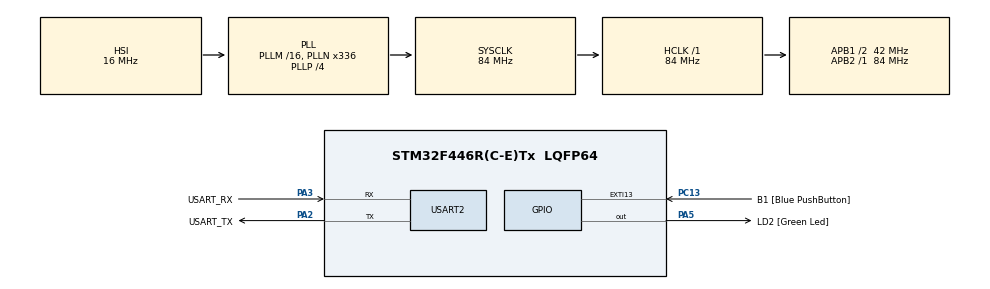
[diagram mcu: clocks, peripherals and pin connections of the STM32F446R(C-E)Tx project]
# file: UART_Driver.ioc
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Mcu.Family=STM32F4
Mcu.Name=STM32F446R(C-E)Tx
Mcu.Package=LQFP64
NVIC.PriorityGroup=NVIC_PRIORITYGROUP_0
PA13.GPIO_Label=TMS
PA13.Mode=Serial_Wire
PA13.Signal=SYS_JTMS-SWDIO
PA14.GPIO_Label=TCK
PA14.Mode=Serial_Wire
PA14.Signal=SYS_JTCK-SWCLK
PA2.GPIO_Label=USART_TX
PA2.Mode=Asynchronous
PA2.Signal=USART2_TX
PA3.GPIO_Label=USART_RX
PA3.Mode=Asynchronous
PA3.Signal=USART2_RX
PA5.GPIO_Label=LD2 [Green Led]
PA5.Signal=GPIO_Output
PB3.GPIO_Label=SWO
PB3.Signal=SYS_JTDO-SWO
PC13.GPIO_Label=B1 [Blue PushButton]
PC13.GPIO_ModeDefaultEXTI=GPIO_MODE_IT_FALLING
PC13.Signal=GPXTI13
PC14-OSC32_IN.Mode=LSE-External-Oscillator
PC14-OSC32_IN.Signal=RCC_OSC32_IN
PC15-OSC32_OUT.Mode=LSE-External-Oscillator
PC15-OSC32_OUT.Signal=RCC_OSC32_OUT
PH0-OSC_IN.Mode=HSE-External-Oscillator
PH0-OSC_IN.Signal=RCC_OSC_IN
PH1-OSC_OUT.Mode=HSE-External-Oscillator
PH1-OSC_OUT.Signal=RCC_OSC_OUT
ProjectManager.HeapSize=0x200
ProjectManager.StackSize=0x400
ProjectManager.TargetToolchain=STM32CubeIDE
RCC.48MHZClocksFreq_Value=84000000
RCC.AHBFreq_Value=84000000
RCC.APB1CLKDivider=RCC_HCLK_DIV2
RCC.APB1Freq_Value=42000000
RCC.APB1TimFreq_Value=84000000
RCC.APB2Freq_Value=84000000
RCC.APB2TimFreq_Value=84000000
RCC.CortexFreq_Value=84000000
RCC.FLatency-AdvancedSettings=FLASH_LATENCY_2
RCC.HCLKFreq_Value=84000000
RCC.HSE_VALUE=8000000
RCC.HSI_VALUE=16000000
RCC.PLLN=336
RCC.PLLP=RCC_PLLP_DIV4
RCC.SYSCLKFreq_VALUE=84000000
RCC.SYSCLKSource=RCC_SYSCLKSOURCE_PLLCLK
RCC.USBFreq_Value=168000000
RCC.VCOOutputFreq_Value=336000000
USART2.VirtualMode=VM_ASYNC
board=NUCLEO-F446RE

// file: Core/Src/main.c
/* USER CODE BEGIN Header */
/**
  ******************************************************************************
  * @file           : main.c
  * @brief          : Main program body
  ******************************************************************************
  * @attention
  *
  * Copyright (c) 2026 STMicroelectronics.
  * All rights reserved.
  *
  * This software is licensed under terms that can be found in the LICENSE file
  * in the root directory of this software component.
  * If no LICENSE file comes with this software, it is provided AS-IS.
  *
  ******************************************************************************
  */
/* USER CODE END Header */
#include "main.h"

/* USER CODE BEGIN Includes */
#include "..\..\UART\uart.h"
/* USER CODE END Includes */

UART_HandleTypeDef huart2;

void SystemClock_Config(void);
static void MX_GPIO_Init(void);
static void MX_USART2_UART_Init(void);
/* USER CODE BEGIN PFP */

/*** UARTドライバの実例用 ***/
void uart_example(void);
void uart_example_tx_cb(void * ctx);
void uart_example_rx_cb(void * ctx, unsigned char data);

/* USER CODE END PFP */

int main(void)
{

  /* MCU Configuration--------------------------------------------------------*/

  /* Reset of all peripherals, Initializes the Flash interface and the Systick. */
  HAL_Init();

  /* Configure the system clock */
  SystemClock_Config();

  /* Initialize all configured peripherals */
  MX_GPIO_Init();
  MX_USART2_UART_Init();

  /* Infinite loop */
  /* USER CODE BEGIN WHILE */
  while (1)
  {
    /* UARTドライバーの使用例 */
    uart_example();
    /* USER CODE END WHILE */

  }
}

void SystemClock_Config(void)
{
  RCC_OscInitTypeDef RCC_OscInitStruct = {0};
  RCC_ClkInitTypeDef RCC_ClkInitStruct = {0};

  /** Configure the main internal regulator output voltage
  */
  __HAL_RCC_PWR_CLK_ENABLE();
  __HAL_PWR_VOLTAGESCALING_CONFIG(PWR_REGULATOR_VOLTAGE_SCALE3);

  /** Initializes the RCC Oscillators according to the specified parameters
  * in the RCC_OscInitTypeDef structure.
  */
  RCC_OscInitStruct.OscillatorType = RCC_OSCILLATORTYPE_HSI;
  RCC_OscInitStruct.HSIState = RCC_HSI_ON;
  RCC_OscInitStruct.HSICalibrationValue = RCC_HSICALIBRATION_DEFAULT;
  RCC_OscInitStruct.PLL.PLLState = RCC_PLL_ON;
  RCC_OscInitStruct.PLL.PLLSource = RCC_PLLSOURCE_HSI;
  RCC_OscInitStruct.PLL.PLLM = 16;
  RCC_OscInitStruct.PLL.PLLN = 336;
  RCC_OscInitStruct.PLL.PLLP = RCC_PLLP_DIV4;
  RCC_OscInitStruct.PLL.PLLQ = 2;
  RCC_OscInitStruct.PLL.PLLR = 2;
  if (HAL_RCC_OscConfig(&RCC_OscInitStruct) != HAL_OK)
  {
    Error_Handler();
  }

  /** Initializes the CPU, AHB and APB buses clocks
  */
  RCC_ClkInitStruct.ClockType = RCC_CLOCKTYPE_HCLK|RCC_CLOCKTYPE_SYSCLK
                              |RCC_CLOCKTYPE_PCLK1|RCC_CLOCKTYPE_PCLK2;
  RCC_ClkInitStruct.SYSCLKSource = RCC_SYSCLKSOURCE_PLLCLK;
  RCC_ClkInitStruct.AHBCLKDivider = RCC_SYSCLK_DIV1;
  RCC_ClkInitStruct.APB1CLKDivider = RCC_HCLK_DIV2;
  RCC_ClkInitStruct.APB2CLKDivider = RCC_HCLK_DIV1;

  if (HAL_RCC_ClockConfig(&RCC_ClkInitStruct, FLASH_LATENCY_2) != HAL_OK)
  {
    Error_Handler();
  }
}

static void MX_USART2_UART_Init(void)
{

  /* USER CODE BEGIN USART2_Init 0 */
#if 0
  /* USER CODE END USART2_Init 0 */

  huart2.Instance = USART2;
  huart2.Init.BaudRate = 115200;
  huart2.Init.WordLength = UART_WORDLENGTH_8B;
  huart2.Init.StopBits = UART_STOPBITS_1;
  huart2.Init.Parity = UART_PARITY_NONE;
  huart2.Init.Mode = UART_MODE_TX_RX;
  huart2.Init.HwFlowCtl = UART_HWCONTROL_NONE;
  huart2.Init.OverSampling = UART_OVERSAMPLING_16;
  if (HAL_UART_Init(&huart2) != HAL_OK)
  {
    Error_Handler();
  }
  /* USER CODE BEGIN USART2_Init 2 */
#endif
  /* USER CODE END USART2_Init 2 */

}

static void MX_GPIO_Init(void)
{
  GPIO_InitTypeDef GPIO_InitStruct = {0};

  /* GPIO Ports Clock Enable */
  __HAL_RCC_GPIOC_CLK_ENABLE();
  __HAL_RCC_GPIOH_CLK_ENABLE();
  __HAL_RCC_GPIOA_CLK_ENABLE();
  __HAL_RCC_GPIOB_CLK_ENABLE();

  /*Configure GPIO pin Output Level */
  HAL_GPIO_WritePin(LD2_GPIO_Port, LD2_Pin, GPIO_PIN_RESET);

  /*Configure GPIO pin : B1_Pin */
  GPIO_InitStruct.Pin = B1_Pin;
  GPIO_InitStruct.Mode = GPIO_MODE_IT_FALLING;
  GPIO_InitStruct.Pull = GPIO_NOPULL;
  HAL_GPIO_Init(B1_GPIO_Port, &GPIO_InitStruct);

  /*Configure GPIO pin : LD2_Pin */
  GPIO_InitStruct.Pin = LD2_Pin;
  GPIO_InitStruct.Mode = GPIO_MODE_OUTPUT_PP;
  GPIO_InitStruct.Pull = GPIO_NOPULL;
  GPIO_InitStruct.Speed = GPIO_SPEED_FREQ_LOW;
  HAL_GPIO_Init(LD2_GPIO_Port, &GPIO_InitStruct);

}

/* USER CODE BEGIN 4 */
#define UART_STATE_IDOL     0
#define UART_STATE_TX       1
#define UART_STATE_RX       2

int uart_id1 = UART_STATE_IDOL;
int uart_id2 = UART_STATE_IDOL;

int state = 0;

/***
 * @name  uart_example
 * @brief UART使用例
 */
void uart_example(void)
{
    /* デバッグ用ポートOPEN */
    uart_open(UART_COM_DEBUG, &uart_id1, 115200);

    /* 通信ポートOPEN */
    uart_open(UART_COM1, &uart_id2, 9600);

    /* 送信コールバック登録 */
    uart_set_tx_callback(&uart_id1, uart_example_tx_cb);
    uart_set_tx_callback(&uart_id2, uart_example_tx_cb);

    /* 受信コールバック登録 */
    uart_set_rx_callback(&uart_id1, uart_example_rx_cb);
    uart_set_rx_callback(&uart_id2, uart_example_rx_cb);

    uart_tx_start(&uart_id1, (unsigned char *)"[DEBUG] COM PORT OPEN\r\n", 24);
    uart_id1 = UART_STATE_TX;
    while (uart_id1 != UART_STATE_IDOL);    /* 送信完了待ち */

    while (1)
    {
        state = 0;

        uart_tx_start(&uart_id1, (unsigned char *)"Press a Enter key Check the com port1\r\n\r\n", 42);
        uart_id1 = UART_STATE_TX;
        while (uart_id1 != UART_STATE_IDOL);    /* 送信完了待ち */

        while (state == 0);                     /* Enter押下待ち */

        state = 0;

        uart_tx_start(&uart_id2, (unsigned char *)"0", 1);

        uart_id2 = UART_STATE_TX;
        while (uart_id2 != UART_STATE_IDOL);    /* 送信完了待ち */

        uart_id2 = UART_STATE_RX;
        while (uart_id2 != UART_STATE_IDOL);    /* 受信完了待ち */

        /* 結果表示 */
        if (state == 1)
        {
            uart_tx_start(&uart_id1, (unsigned char *)"[DEBUG] com port1 TX -> RX OK!\r\n", 33);     /* 受信正常 */
        }
        else
        {
            uart_tx_start(&uart_id1, (unsigned char *)"[DEBUG] com port1 TX -> RX NG!\r\n", 33);     /* 受信異常 */
        }
    }
}

/***
 * @brief 送信コールバック
 */
void uart_example_tx_cb(void * ctx)
{
    if (ctx == &uart_id1)
    {
        uart_id1 = UART_STATE_IDOL;     /* アイドル状態に戻す */
    }
    else if (ctx == &uart_id2)
    {
        uart_id2 = UART_STATE_IDOL;     /* アイドル状態に戻す */
    }
    else
    {
        /* DO NOTHING */
    }
}

/***
 * @brief 受信コールバック
 */
void uart_example_rx_cb(void * ctx, unsigned char data)
{
    if (ctx == &uart_id1)
    {
        if ((data == '\r') || (data == '\n'))       /* Enter key? */
        {
            state = 1;
        }
    }
    else if (ctx == &uart_id2)
    {
        uart_id2 = UART_STATE_IDOL;     /* アイドル状態に戻す */

        if (data == '0')
        {
            state = 1;
        }
        else
        {
            state = 2;
        }
    }
    else
    {
        /* DO NOTHING */
    }
}
/* USER CODE END 4 */

void Error_Handler(void)
{
  __disable_irq();
  while (1)
  {
  }
}
